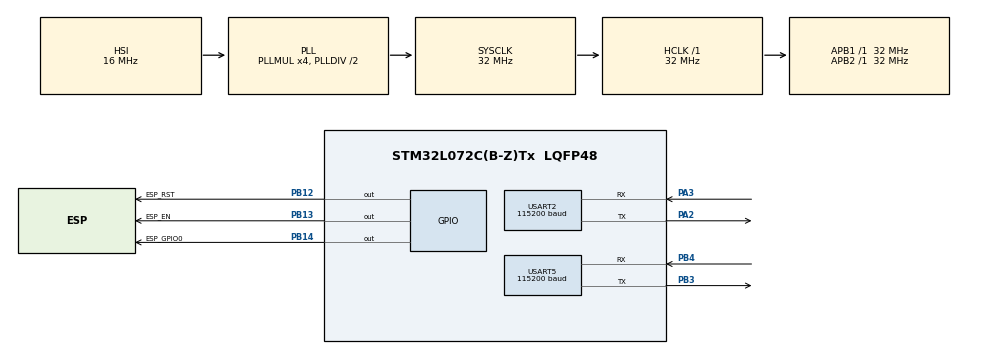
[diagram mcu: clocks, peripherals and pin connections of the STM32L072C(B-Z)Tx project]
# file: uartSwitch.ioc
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Dma.Request0=USART2_RX
Dma.Request1=USART2_TX
Dma.Request2=USART5_RX
Dma.Request3=USART5_TX
Dma.USART2_RX.0.Direction=DMA_PERIPH_TO_MEMORY
Dma.USART2_RX.0.Instance=DMA1_Channel5
Dma.USART2_RX.0.MemDataAlignment=DMA_MDATAALIGN_BYTE
Dma.USART2_RX.0.MemInc=DMA_MINC_ENABLE
Dma.USART2_RX.0.Mode=DMA_NORMAL
Dma.USART2_RX.0.PeriphDataAlignment=DMA_PDATAALIGN_BYTE
Dma.USART2_RX.0.PeriphInc=DMA_PINC_DISABLE
Dma.USART2_RX.0.Priority=DMA_PRIORITY_LOW
Dma.USART2_TX.1.Direction=DMA_MEMORY_TO_PERIPH
Dma.USART2_TX.1.Instance=DMA1_Channel4
Dma.USART2_TX.1.MemDataAlignment=DMA_MDATAALIGN_BYTE
Dma.USART2_TX.1.MemInc=DMA_MINC_ENABLE
Dma.USART2_TX.1.Mode=DMA_NORMAL
Dma.USART2_TX.1.PeriphDataAlignment=DMA_PDATAALIGN_BYTE
Dma.USART2_TX.1.PeriphInc=DMA_PINC_DISABLE
Dma.USART2_TX.1.Priority=DMA_PRIORITY_LOW
Dma.USART5_RX.2.Direction=DMA_PERIPH_TO_MEMORY
Dma.USART5_RX.2.Instance=DMA1_Channel2
Dma.USART5_RX.2.MemDataAlignment=DMA_MDATAALIGN_BYTE
Dma.USART5_RX.2.MemInc=DMA_MINC_ENABLE
Dma.USART5_RX.2.Mode=DMA_NORMAL
Dma.USART5_RX.2.PeriphDataAlignment=DMA_PDATAALIGN_BYTE
Dma.USART5_RX.2.PeriphInc=DMA_PINC_DISABLE
Dma.USART5_RX.2.Priority=DMA_PRIORITY_LOW
Dma.USART5_TX.3.Direction=DMA_MEMORY_TO_PERIPH
Dma.USART5_TX.3.Instance=DMA1_Channel3
Dma.USART5_TX.3.MemDataAlignment=DMA_MDATAALIGN_BYTE
Dma.USART5_TX.3.MemInc=DMA_MINC_ENABLE
Dma.USART5_TX.3.Mode=DMA_NORMAL
Dma.USART5_TX.3.PeriphDataAlignment=DMA_PDATAALIGN_BYTE
Dma.USART5_TX.3.PeriphInc=DMA_PINC_DISABLE
Dma.USART5_TX.3.Priority=DMA_PRIORITY_LOW
Mcu.Family=STM32L0
Mcu.Name=STM32L072C(B-Z)Tx
Mcu.Package=LQFP48
NVIC.DMA1_Channel2_3_IRQn=true\:0\:0\:false\:false\:true\:false\:true\:true
NVIC.DMA1_Channel4_5_6_7_IRQn=true\:0\:0\:false\:false\:true\:false\:true\:true
NVIC.USART2_IRQn=true\:0\:0\:false\:false\:true\:true\:true\:true
NVIC.USART4_5_IRQn=true\:0\:0\:false\:false\:true\:true\:true\:true
PA2.Mode=Asynchronous
PA2.Signal=USART2_TX
PA3.Mode=Asynchronous
PA3.Signal=USART2_RX
PB12.GPIO_Label=ESP_RST
PB12.Signal=GPIO_Output
PB13.GPIO_Label=ESP_EN
PB13.Signal=GPIO_Output
PB14.GPIO_Label=ESP_GPIO0
PB14.Signal=GPIO_Output
PB3.Mode=Asynchronous
PB3.Signal=USART5_TX
PB4.Mode=Asynchronous
PB4.Signal=USART5_RX
ProjectManager.HeapSize=0x200
ProjectManager.StackSize=0x400
ProjectManager.TargetToolchain=STM32CubeIDE
RCC.ADCFreq_Value=16000000
RCC.AHBFreq_Value=32000000
RCC.APB1Freq_Value=32000000
RCC.APB1TimFreq_Value=32000000
RCC.APB2Freq_Value=32000000
RCC.APB2TimFreq_Value=32000000
RCC.HCLKFreq_Value=32000000
RCC.HSE_VALUE=8000000
RCC.HSI16_VALUE=16000000
RCC.HSI48_VALUE=48000000
RCC.HSI_VALUE=16000000
RCC.LSE_VALUE=32768
RCC.MSI_VALUE=2097000
RCC.PLLMUL=RCC_PLLMUL_4
RCC.SYSCLKFreq_VALUE=32000000
RCC.SYSCLKSource=RCC_SYSCLKSOURCE_PLLCLK
RCC.VCOOutputFreq_Value=64000000
USART2.BaudRate=115200
USART2.VirtualMode-Asynchronous=VM_ASYNC
USART5.BaudRate=115200
USART5.VirtualMode-Asynchronous=VM_ASYNC
board=custom

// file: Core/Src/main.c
/* USER CODE BEGIN Header */
/**
  ******************************************************************************
  * @file           : main.c
  * @brief          : Main program body
  ******************************************************************************
  * @attention
  *
  * Copyright (c) 2024 STMicroelectronics.
  * All rights reserved.
  *
  * This software is licensed under terms that can be found in the LICENSE file
  * in the root directory of this software component.
  * If no LICENSE file comes with this software, it is provided AS-IS.
  *
  ******************************************************************************
  */
/* USER CODE END Header */
#include "main.h"

/* USER CODE BEGIN Includes */
#include "string.h"
/* USER CODE END Includes */

UART_HandleTypeDef huart2;
UART_HandleTypeDef huart5;
DMA_HandleTypeDef hdma_usart2_rx;
DMA_HandleTypeDef hdma_usart2_tx;
DMA_HandleTypeDef hdma_usart5_rx;
DMA_HandleTypeDef hdma_usart5_tx;

/* USER CODE BEGIN PV */
uint8_t uart2Rx[4*1024];
uint8_t uart2Tx[4*1024];
uint8_t uart5Rx[4*1024];
uint8_t uart5Tx[4*1024];
uint8_t flag = 0;
/* USER CODE END PV */

void SystemClock_Config(void);
static void MX_GPIO_Init(void);
static void MX_DMA_Init(void);
static void MX_USART2_UART_Init(void);
static void MX_USART5_UART_Init(void);

int main(void)
{

  /* MCU Configuration--------------------------------------------------------*/

  /* Reset of all peripherals, Initializes the Flash interface and the Systick. */
  HAL_Init();

  /* Configure the system clock */
  SystemClock_Config();

  /* Initialize all configured peripherals */
  MX_GPIO_Init();
  MX_DMA_Init();
  MX_USART2_UART_Init();
  MX_USART5_UART_Init();
  /* USER CODE BEGIN 2 */

  __HAL_DMA_DISABLE_IT(&hdma_usart2_rx, DMA_IT_HT); // half Interrupt disable
  __HAL_DMA_DISABLE_IT(&hdma_usart5_rx, DMA_IT_HT); // half Interrupt disable
  HAL_UARTEx_ReceiveToIdle_DMA(&huart2,uart2Rx,sizeof(uart2Rx));
  HAL_UARTEx_ReceiveToIdle_DMA(&huart5,uart5Rx,sizeof(uart5Rx));
  /* USER CODE END 2 */

  /* Infinite loop */
  /* USER CODE BEGIN WHILE */
  HAL_GPIO_WritePin(ESP_EN_GPIO_Port, ESP_EN_Pin, GPIO_PIN_SET);
  HAL_GPIO_WritePin(ESP_RST_GPIO_Port, ESP_RST_Pin, GPIO_PIN_SET);
  HAL_GPIO_WritePin(ESP_GPIO0_GPIO_Port, ESP_GPIO0_Pin, GPIO_PIN_RESET);

  while (1)
  {
    /* USER CODE END WHILE */

  }
}

void SystemClock_Config(void)
{
  RCC_OscInitTypeDef RCC_OscInitStruct = {0};
  RCC_ClkInitTypeDef RCC_ClkInitStruct = {0};
  RCC_PeriphCLKInitTypeDef PeriphClkInit = {0};

  /** Configure the main internal regulator output voltage
  */
  __HAL_PWR_VOLTAGESCALING_CONFIG(PWR_REGULATOR_VOLTAGE_SCALE1);
  /** Initializes the RCC Oscillators according to the specified parameters
  * in the RCC_OscInitTypeDef structure.
  */
  RCC_OscInitStruct.OscillatorType = RCC_OSCILLATORTYPE_HSI;
  RCC_OscInitStruct.HSIState = RCC_HSI_ON;
  RCC_OscInitStruct.HSICalibrationValue = RCC_HSICALIBRATION_DEFAULT;
  RCC_OscInitStruct.PLL.PLLState = RCC_PLL_ON;
  RCC_OscInitStruct.PLL.PLLSource = RCC_PLLSOURCE_HSI;
  RCC_OscInitStruct.PLL.PLLMUL = RCC_PLLMUL_4;
  RCC_OscInitStruct.PLL.PLLDIV = RCC_PLLDIV_2;
  if (HAL_RCC_OscConfig(&RCC_OscInitStruct) != HAL_OK)
  {
    Error_Handler();
  }
  /** Initializes the CPU, AHB and APB buses clocks
  */
  RCC_ClkInitStruct.ClockType = RCC_CLOCKTYPE_HCLK|RCC_CLOCKTYPE_SYSCLK
                              |RCC_CLOCKTYPE_PCLK1|RCC_CLOCKTYPE_PCLK2;
  RCC_ClkInitStruct.SYSCLKSource = RCC_SYSCLKSOURCE_PLLCLK;
  RCC_ClkInitStruct.AHBCLKDivider = RCC_SYSCLK_DIV1;
  RCC_ClkInitStruct.APB1CLKDivider = RCC_HCLK_DIV1;
  RCC_ClkInitStruct.APB2CLKDivider = RCC_HCLK_DIV1;

  if (HAL_RCC_ClockConfig(&RCC_ClkInitStruct, FLASH_LATENCY_1) != HAL_OK)
  {
    Error_Handler();
  }
  PeriphClkInit.PeriphClockSelection = RCC_PERIPHCLK_USART2;
  PeriphClkInit.Usart2ClockSelection = RCC_USART2CLKSOURCE_PCLK1;
  if (HAL_RCCEx_PeriphCLKConfig(&PeriphClkInit) != HAL_OK)
  {
    Error_Handler();
  }
}

static void MX_USART2_UART_Init(void)
{

  huart2.Instance = USART2;
  huart2.Init.BaudRate = 115200;
  huart2.Init.WordLength = UART_WORDLENGTH_8B;
  huart2.Init.StopBits = UART_STOPBITS_1;
  huart2.Init.Parity = UART_PARITY_NONE;
  huart2.Init.Mode = UART_MODE_TX_RX;
  huart2.Init.HwFlowCtl = UART_HWCONTROL_NONE;
  huart2.Init.OverSampling = UART_OVERSAMPLING_16;
  huart2.Init.OneBitSampling = UART_ONE_BIT_SAMPLE_DISABLE;
  huart2.AdvancedInit.AdvFeatureInit = UART_ADVFEATURE_NO_INIT;
  if (HAL_UART_Init(&huart2) != HAL_OK)
  {
    Error_Handler();
  }

}

static void MX_USART5_UART_Init(void)
{

  huart5.Instance = USART5;
  huart5.Init.BaudRate = 115200;
  huart5.Init.WordLength = UART_WORDLENGTH_8B;
  huart5.Init.StopBits = UART_STOPBITS_1;
  huart5.Init.Parity = UART_PARITY_NONE;
  huart5.Init.Mode = UART_MODE_TX_RX;
  huart5.Init.HwFlowCtl = UART_HWCONTROL_NONE;
  huart5.Init.OverSampling = UART_OVERSAMPLING_16;
  huart5.Init.OneBitSampling = UART_ONE_BIT_SAMPLE_DISABLE;
  huart5.AdvancedInit.AdvFeatureInit = UART_ADVFEATURE_NO_INIT;
  if (HAL_UART_Init(&huart5) != HAL_OK)
  {
    Error_Handler();
  }

}

static void MX_DMA_Init(void)
{

  /* DMA controller clock enable */
  __HAL_RCC_DMA1_CLK_ENABLE();

  /* DMA interrupt init */
  /* DMA1_Channel2_3_IRQn interrupt configuration */
  HAL_NVIC_SetPriority(DMA1_Channel2_3_IRQn, 0, 0);
  HAL_NVIC_EnableIRQ(DMA1_Channel2_3_IRQn);
  /* DMA1_Channel4_5_6_7_IRQn interrupt configuration */
  HAL_NVIC_SetPriority(DMA1_Channel4_5_6_7_IRQn, 0, 0);
  HAL_NVIC_EnableIRQ(DMA1_Channel4_5_6_7_IRQn);

}

static void MX_GPIO_Init(void)
{
  GPIO_InitTypeDef GPIO_InitStruct = {0};

  /* GPIO Ports Clock Enable */
  __HAL_RCC_GPIOA_CLK_ENABLE();
  __HAL_RCC_GPIOB_CLK_ENABLE();

  /*Configure GPIO pin Output Level */
  HAL_GPIO_WritePin(GPIOB, ESP_RST_Pin|ESP_EN_Pin|ESP_GPIO0_Pin, GPIO_PIN_RESET);

  /*Configure GPIO pins : ESP_RST_Pin ESP_EN_Pin ESP_GPIO0_Pin */
  GPIO_InitStruct.Pin = ESP_RST_Pin|ESP_EN_Pin|ESP_GPIO0_Pin;
  GPIO_InitStruct.Mode = GPIO_MODE_OUTPUT_PP;
  GPIO_InitStruct.Pull = GPIO_NOPULL;
  GPIO_InitStruct.Speed = GPIO_SPEED_FREQ_LOW;
  HAL_GPIO_Init(GPIOB, &GPIO_InitStruct);

}

/* USER CODE BEGIN 4 */
void HAL_UARTEx_RxEventCallback(UART_HandleTypeDef *huart, uint16_t Size){
    if(huart->Instance == USART2){
    	//memcpy(uart5Tx,uart2Rx,Size);
    	HAL_UART_Transmit(&huart5, uart2Rx,Size,HAL_MAX_DELAY);
    	//memset(uart2Rx,0,sizeof(uart2Rx));
    	HAL_UARTEx_ReceiveToIdle_DMA(&huart2,uart2Rx,sizeof(uart2Rx));
    }
    if(huart->Instance == USART5){
    	//memcpy(uart2Tx,uart5Rx,Size);
    	HAL_UART_Transmit_DMA(&huart2, uart5Rx,Size);
    	//memset(uart5Rx,0,sizeof(uart5Rx));
    	HAL_UARTEx_ReceiveToIdle_DMA(&huart5,uart5Rx,sizeof(uart5Rx));
    }
}

void HAL_UART_TxCpltCallback(UART_HandleTypeDef *huart){
    if(huart->Instance == USART2){
    	__NOP();
    }
    if(huart->Instance == USART5){
    	__NOP();
    }
}

void HAL_UART_ErrorCallback(UART_HandleTypeDef *huart){
    if(huart->Instance == USART2){
    	HAL_UARTEx_ReceiveToIdle_DMA(&huart2,uart2Rx,sizeof(uart2Rx));
    }
    if(huart->Instance == USART5){
    	HAL_UARTEx_ReceiveToIdle_DMA(&huart5,uart5Rx,sizeof(uart5Rx));
    }
}

/* USER CODE END 4 */

void Error_Handler(void)
{
  __disable_irq();
  while (1)
  {
  }
}
